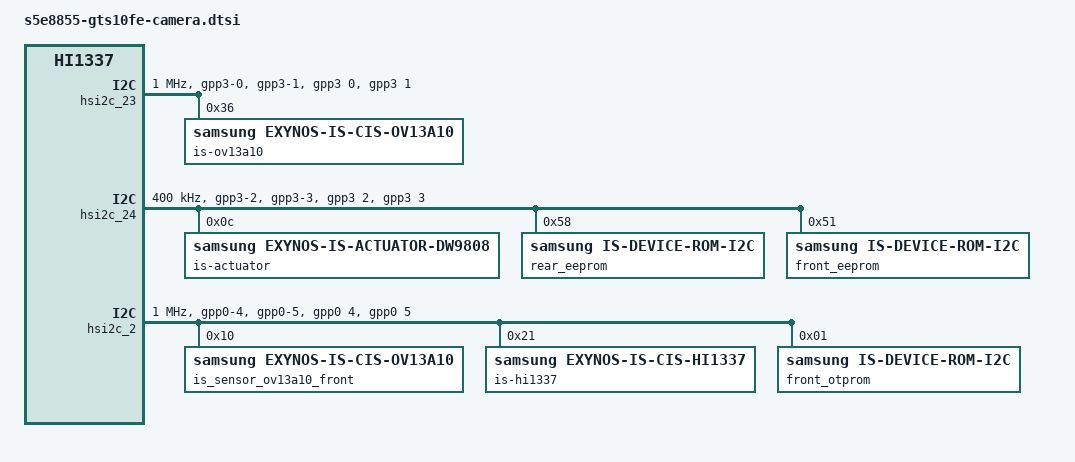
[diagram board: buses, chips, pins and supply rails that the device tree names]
/*
 * Samsung Exynos SoC series Pablo driver
 *
 * Copyright (c) 2024 Samsung Electronics Co., Ltd
 *
 * This program is free software; you can redistribute it and/or modify
 * it under the terms of the GNU General Public License version 2 as
 * published by the Free Software Foundation.
 */

#include <dt-bindings/camera/exynos_is_dt.h>

#include "module_ov13a10.dtsi"	/* Rear CAMERA */
#include "module_ov13a10_front.dtsi"	/* Front CAMERA */
#include "module_hi1337.dtsi"	/* Front CAMERA */

/ {
	fragment@camera {
		target-path = "/";
		__overlay__ {
			#address-cells = <2>;
			#size-cells = <1>;
			interrupt-parent = <&gic>;

			/* Wide CAMERA */
			is_sensor0: is_sensor0@17480000 {
				reg = <0x0 0x174A0000 0x1000>, /* MIPI-CSI2 */
					<0x0 0x174D0000 0x10000>, /* PHY: M0S4S4S4S4_S22 */
					<0x0 0x174E022C 0x10>; /* CSIS_FRO */
				interrupts = <0 INTREQ__CSIS2 IRQ_TYPE_LEVEL_HIGH>; /* MIPI-CSI2 */
				scenario = <SENSOR_SCENARIO_NORMAL>;	/* Normal, Vision, OIS etc */
				id = <0>;	/* VIDEO_SS0 */
				csi_ch = <2>; /* CSI2 */
				status = "okay";
				use_cphy = <0>;

				phys = <&mipi_phy_csis2_m0s4s4s4s4_s22>;
				phy_setfile = <&dcphy_setfile_dphy>;
				phy_tune_default_mode = "4128 3096 30";
			};

			/* FRONT CAMERA */
			is_sensor1: is_sensor1@17490000 {
				reg = <0x0 0x17480000 0x1000>, /* MIPI-CSI0 */
					<0x0 0x174D0000 0x10000>, /* PHY: M0S4S4S4S4_S22 */
					<0x0 0x174E022C 0x10>; /* CSIS_FRO */
				interrupts = <0 INTREQ__CSIS0 IRQ_TYPE_LEVEL_HIGH>; /*MIPI-CSI0 */
				scenario = <SENSOR_SCENARIO_NORMAL>;    /* Normal, Vision, OIS etc */
				id = <1>;
				csi_ch = <0>;
				status = "okay";
				use_cphy = <0>;

				phys = <&mipi_phy_csis0_m0s4s4s4s4_s22>;
				phy_setfile = <&dcphy_setfile_dphy>;
				phy_tune_default_mode = "4000 3000 30";
			};

			is_sensor2: is_sensor2@174A0000 {
				status = "disabled";
			};

			is_sensor3: is_sensor3@174B0000 {
				status = "disabled";
			};

			is_sensor4: is_sensor4@174C0000 {
				status = "disabled";
			};
		}; /* end of __overlay__ */
	}; /* end of fragment */
}; /* end of root */

/***** reference symbol node *****/
/* GPIO_PERI */
&pinctrl_3 {
	/* FRONT i2c1 */
	hsi2c2_bus: hsi2c2-bus {
			samsung,pins = "gpp0-4", "gpp0-5";
			samsung,pin-function = <2>;
			samsung,pin-pud = <5>;
			samsung,pin-drv = <0>;
	};

	hsi2c2_bus_in: hsi2c2-bus-in {
			samsung,pins = "gpp0-4", "gpp0-5";
			samsung,pin-function = <0>;
			samsung,pin-pud = <1>;
			samsung,pin-drv = <0>;
	};
};

&pinctrl_5 {
	/* REAR WIDE */
	hsi2c23_bus: hsi2c23-bus {
		samsung,pins = "gpp3-0", "gpp3-1";
		samsung,pin-function = <2>;
		samsung,pin-pud = <5>;
		samsung,pin-drv = <0>;
	};

	hsi2c23_bus_in: hsi2c23-bus-in {
		samsung,pins = "gpp3-0", "gpp3-1";
		samsung,pin-function = <0>;
		samsung,pin-pud = <1>;
		samsung,pin-drv = <0>;
	};

	/* AF EEPROM */
	hsi2c24_bus: hsi2c24-bus {
		samsung,pins = "gpp3-2", "gpp3-3";
		samsung,pin-function = <3>;
		samsung,pin-pud = <3>;
		samsung,pin-drv = <0>;
	};

	hsi2c24_bus_in: hsi2c24-bus-in {
		samsung,pins = "gpp3-2", "gpp3-3";
		samsung,pin-function = <0>;
		samsung,pin-pud = <1>;
		samsung,pin-drv = <0>;
	};
};

&hsi2c_23 {
	#address-cells = <1>;
	#size-cells = <0>;
	gpios = <&gpp3 0 0 &gpp3 1 0>;
	status = "okay";
	clock-frequency = <1000000>;
	samsung,reset-before-trans;
	samsung,fast-plus-mode;

	pinctrl-names = "default","on_i2c","off_i2c";
	pinctrl-0 = <&hsi2c23_bus_in>;
	pinctrl-1 = <&hsi2c23_bus>;
	pinctrl-2 = <&hsi2c23_bus_in>;

	is-ov13a10@6C {
		compatible = "samsung,exynos-is-cis-ov13a10";
		sensor-module = <&is_sensor_ov13a10>;
		reg = <0x36>; /* 1 bit right shift */
		id = <0>; /* matching is_sensor id */
		setfile = "setA";
		status = "okay";
		rev_reg = <0x0018 1>;
		sensor_f_number = <180>;	/* f number 1.8 */
		vendor_use_adaptive_mipi;
	};
};

&hsi2c_24 {
	#address-cells = <1>;
	#size-cells = <0>;
	gpios = <&gpp3 2 0 &gpp3 3 0>;
	status = "okay";
	clock-frequency = <400000>;
	samsung,reset-before-trans;

	pinctrl-names = "default","on_i2c","off_i2c";
	pinctrl-0 = <&hsi2c24_bus_in>;
	pinctrl-1 = <&hsi2c24_bus>;
	pinctrl-2 = <&hsi2c24_bus_in>;

	is-actuator@18 { /* wide AF */
		compatible = "samsung,exynos-is-actuator-dw9808";
		sensor-module = <&is_sensor_ov13a10>;
		reg = <0x0C>;
		id = <0>; /* matching is_sensor id */
		place = <0>;
		calibration = <0x06A4 0x06A5>; /* control_mode, resonance */
	};

	rear_eeprom@B0 {
		compatible = "samsung,is-device-rom-i2c";
		reg = <0x58>;

		rom_id = <0>; /* ROM_ID_REAR */
		rom_type = <2>; /* ROM_TYPE_EEPROM */
		rom_power_position = <0>;
		rom_size = <0x8000>;
		sensor_name_addr = <0x00A0>;
		cal_map_es_version = <1>;
		camera_module_es_version = "A";
		need_i2c_config;
		/* ignore_cal_crc_error; */
		/* skip_cal_loading; */

		/* 20240912_TabS10FE_FEPlus_CAM1(Wide_13M_OV13A10)_EEPROM_Rear_Cal_map_V008.001_QC_LSI_MTK_Common_Map */
		/* 0 header */
		header_crc_check_list = <0x0000 0x00FB 0x00FC>;
		/* 0 LSI Wide LSC data */
		/* 1 Wide camera */
		/* 2 ATC data */
		/* 3 Tele camera */
		/* 4 Sensor */
		crc_check_list = <
				0x0100 0x013B 0x013C
				0x0190 0x067B 0x067C
				0x0680 0x06CB 0x06CC
				0x06D0 0x0E8B 0x0E8C
				0x0E90 0x0EDB 0x0EDC
				0x0EE0 0x16EB 0x16EC
				0x16F0 0x170B 0x170C
				0x1710 0x1B0B 0x1B0C
			>;

		/* Master */
		rom_header_version_start_addr = <0x6E>;
		rom_header_cal_data_start_addr = <0x00>;
		rom_header_cal_map_ver_start_addr = <0x90>;
		rom_header_isp_setfile_ver_start_addr = <0x71>;
		rom_header_project_name_start_addr = <0x98>;
		rom_header_module_id_addr = <0xB6>; /* 0xB0 + reserved bytes */
		rom_header_sensor_id_addr = <0xC0>;
		rom_awb_master_addr = <0x16F0>;
		/* Near Far Mid1 ... Mid7 */
		rom_af_cal_addr = <0x068C 0x0680>;
		rom_header_mtf_data_addr = <0x1B10>; /* Resolution Data */

		/* standard cal */
		use_standard_cal;
		rom_standard_cal_start_addr = <0x0100>;
		rom_standard_cal_end_addr = <0x1D49>;
		rom_standard_cal_sec2lsi_end_addr = <0x3329>;
		rom_awb_start_addr = <0x16F0>;
		rom_awb_end_addr = <0x16F7>;
		rom_shading_start_addr = <0x1710>;
		rom_shading_end_addr = <0x1B08>;
		rom_awb_sec2lsi_start_addr = <0x16F0>;
		rom_awb_sec2lsi_end_addr = <0x16F7>;
		rom_awb_sec2lsi_checksum_addr = <0x16FC>;
		rom_awb_sec2lsi_checksum_len = <0xC>;
		rom_shading_sec2lsi_start_addr = <0x1700>;
		rom_shading_sec2lsi_end_addr = <0x30E7>;
		rom_shading_sec2lsi_checksum_addr = <0x30EC>;
		rom_shading_sec2lsi_checksum_len = <0x19EC>;
		rom_factory_start_addr = <0x1B10>;
		rom_factory_end_addr = <0x1D49>;
		rom_factory_sec2lsi_start_addr = <0x30F0>;
	};

	front_eeprom@A2 {
		compatible = "samsung,is-device-rom-i2c";
		reg = <0x51>;

		rom_id = <1>; /* ROM_ID_FRONT */
		rom_type = <2>; /* ROM_TYPE_EEPROM */
		rom_power_position = <1>;
		rom_size = <0x8000>;
		sensor_name_addr = <0x00A0>;
		cal_map_es_version = <1>;
		camera_module_es_version = "A";
		need_i2c_config;
		/* ignore_cal_crc_error; */
		/* skip_cal_loading; */
		check_dualize; 
		dualized_sensorinfo = "224 HI1337 3";
		sensor_headerver = "S12EO";

		/* 20240910_TabS10FE_FEPlus_CAM1(Front_12M_OV13A10)_EEPROM_Front_Cal_map V008.001_QC_LSI_MTK_Common_Map */
		/* 0 header */
		header_crc_check_list = <0x0000 0x0051 0x0052>;
		/* 0 LSI Wide LSC data */
		/* 1 Wide camera */
		/* 2 ATC data */
		/* 3 Tele camera */
		/* 4 Sensor */
		crc_check_list = <
				0x0056 0x0477 0x0478
			>;

		/* Master */
		rom_header_cal_data_start_addr = <0x00>;
		rom_header_version_start_addr = <0x0A>;
		rom_header_cal_map_ver_start_addr = <0x16>;
		rom_header_project_name_start_addr = <0x1E>;
		rom_header_module_id_addr = <0x36>; /* 0x30 + reserved bytes */
		rom_header_sensor_id_addr = <0x40>;
		rom_header_mtf_data_addr = <0x47C>; /* Resolution Data */
		rom_awb_master_addr = <0x64>;

		/* standard cal */
		use_standard_cal;
		rom_standard_cal_start_addr = <0x64>;
		rom_standard_cal_end_addr = <0x069B>;
		rom_standard_cal_sec2lsi_end_addr = <0x1C83>;
		rom_awb_start_addr = <0x64>;
		rom_awb_end_addr = <0x6B>;
		rom_shading_start_addr = <0x6E>;
		rom_shading_end_addr = <0x0466>;
		rom_factory_start_addr = <0x047C>;
		rom_factory_end_addr = <0x069B>;
		rom_awb_sec2lsi_start_addr = <0x64>;
		rom_awb_sec2lsi_end_addr = <0x6B>;
		rom_awb_sec2lsi_checksum_addr = <0x70>;
		rom_awb_sec2lsi_checksum_len = <0xC>;
		rom_shading_sec2lsi_start_addr = <0x74>;
		rom_shading_sec2lsi_end_addr = <0x1A5B>;
		rom_shading_sec2lsi_checksum_addr = <0x1A60>;
		rom_shading_sec2lsi_checksum_len = <0x19EC>;
		rom_factory_sec2lsi_start_addr = <0x1A64>;
	};
};

&hsi2c_2 {
	#address-cells = <1>;
	#size-cells = <0>;
	gpios = <&gpp0 4 0 &gpp0 5 0>;
	status = "okay";
	clock-frequency = <1000000>;
	samsung,reset-before-trans;
	samsung,fast-plus-mode;

	pinctrl-names = "default","on_i2c","off_i2c";
	pinctrl-0 = <&hsi2c2_bus_in>;
	pinctrl-1 = <&hsi2c2_bus>;
	pinctrl-2 = <&hsi2c2_bus_in>;

	is_sensor_ov13a10_front@20 {
		compatible = "samsung,exynos-is-cis-ov13a10";
		sensor-module = <&is_sensor_ov13a10_front>;
		reg = <0x10>; /* 1 bit right shift */
		id = <1>; /* matching is_sensor id */
		setfile = "setA_front";
		status = "okay";
		rev_reg = <0x0018 1>;
		sensor_f_number = <180>;	/* f number 1.8 */
		vendor_use_adaptive_mipi;
	};

	is-hi1337@42 {
		compatible = "samsung,exynos-is-cis-hi1337";
		sensor-module = <&is_sensor_hi1337>;
		reg = <0x21>; /* 1 bit right shift */
		id = <1>; /* matching is_sensor id */
		setfile = "setA";
		status = "okay";
		vendor_use_adaptive_mipi;
	};

	front_otprom@42 {
		compatible = "samsung,is-device-rom-i2c";
		reg = <0x01>;

		rom_id = <1>; /* ROM_ID_FRONT */
		rom_power_position = <1>;
		rom_type = <3>; /* ROM_TYPE_OTPROM */
		rom_size = <0x2000>;
		cal_map_es_version = <1>;
		sensor_name_addr = <0x0026>;
		camera_module_es_version = "A";
		need_i2c_config;
		is_dualized_cal;
		sensor_headerver = "T12EF";
		/* skip_cal_loading; */

		/* 20240910_TabS10FE_FEPlus_CAM1(Front_12M_HI1337)_OTP_Front_Cal_map_V008.001_QC_LSI_MTK_Common_Map */
		/* 0 header */
		header_crc_check_list	= <0x00 0x51 0x52>;
		/* 0 module */
		crc_check_list	= <0x56 0x477 0x0478>;
		/* Master */
		rom_header_version_start_addr	= <0x000A>;
		rom_header_cal_data_start_addr	= <0x0056>;
		rom_header_cal_map_ver_start_addr	= <0x0016>;
		rom_header_project_name_start_addr	= <0x1E>;
		rom_header_module_id_addr	= <0x0036>; /* 0x30 + reserved bytes */
		rom_header_sensor_id_addr	= <0x0040>;
		rom_header_mtf_data_addr = <0x47C>; /* Resolution Data */
		rom_awb_master_addr	= <0x0064>;

		/* standard cal */
		use_standard_cal;
		rom_standard_cal_start_addr	= <0x0000>;
		rom_standard_cal_end_addr	= <0x062C>;
		rom_standard_cal_sec2lsi_end_addr	= <0x1C73>;
		rom_awb_start_addr	= <0x0064>;
		rom_awb_end_addr	= <0x006B>;
		rom_shading_start_addr	= <0x006E>;
		rom_shading_end_addr	= <0x0466>;
		rom_awb_sec2lsi_start_addr	= <0x0064>;
		rom_awb_sec2lsi_end_addr	= <0x006B>;
		rom_awb_sec2lsi_checksum_addr	= <0x0070>;
		rom_awb_sec2lsi_checksum_len	= <0x000C>;
		rom_shading_sec2lsi_start_addr	= <0x0074>;
		rom_shading_sec2lsi_end_addr	= <0x1A5B>;
		rom_shading_sec2lsi_checksum_addr	= <0x1A60>;
		rom_shading_sec2lsi_checksum_len	= <0x19EC>;
	};
};

&exynos_is {
	pinctrl-names = "default";

	vendor {
		use_module_check;
		//use_ois;
		check_sensor_vendor;
		//skip_cal_loading;

		is_vendor_sensor_count = <2>;

		/*
		* Wide(0)
		* Front(1)
		* U Wide(2)
		* Front 80(3) - not available for factory
		* Rear ToF(4) - not available for factory
		* Front Secure(5) - not available for factory
		* Dual Zoom(20)
		* Dual Portrait Tele(21) - Main Tele/Sub Wide
		* Dual Portrait Wide(23) - Main Wide/Sub U Wide
		* Tele 2x2(50)
		* Tele 17.9(52)
		* Front_3(53)
		* Tele_2(54)
		* Front_4(55)
		* Rear_Wide(56)
		* Rear_UW(58)
		* REAR ToF(80)
		* Rear Macro (60)
		*/

		max_supported_camera = <2>;
		supported_cameraId = <56 2>;

		/*
		* list for allowed ux camera name

		* front_wide
		* front_ultra_wide
		* rear_wide
		* rear_ultra_wide
		* rear_tele
		* rear_super_tele
		* rear_macro
		* rear_depth
		* inner

		* camera list format : service id,ux camera name,hw big data node
		*/
		supported_cameraIds_ext = "56,rear_wide,rear,1,front_wide,front";

		/* sysfs camera id */
		max_camera_num = <2>;
		sensor_name { /* position = "name" */
			0 = "OV13A10";
			1 = "OV13A10_FRONT";
		};

		sensor_id { /* position = <sensor_id> */
			0 = <228>;	/* OV13A10 */
			1 = <229 224>;	/* OV13A10_FRONT */
		};

		camera_info0 {			/* 0 : sysfs rear */
			position = <0>;	/* 0 : wide */
			valid = <1>;		/* 0 : INVALID, 1 : VALID */
			type = <0>;			/* 0 : CAM_INFO_TYPE_RW1 */
		};
		camera_info1 {			/* 1 : sysfs front */
			position = <1>;	/* 1 : front master */
			valid = <1>;		/* 0 : INVALID, 1 : VALID */
			type = <3>;			/* 3 : CAM_INFO_TYPE_FW1 */
		};

		sysfs {
			rear_afcal;

			front_fixed_focus;
		};
	};

	is_dvfs {
		table0 {
			desc = "dvfs table v0.0";

			default_int_cam = <0>;
			default_cam = <0>;
			default_csis = <0>;
			default_isp = <0>;
			default_mif = <0>;
			default_icpu = <0>;

			rear_single_photo_csis = <3>;
			rear_single_photo_cam = <6>;
			rear_single_photo_isp = <6>;
			rear_single_photo_int_cam = <6>;
			rear_single_photo_mif = <7>;
			rear_single_photo_icpu = <1>;

			rear_dual_wide_ultrawide_photo_csis = <1>;
			rear_dual_wide_ultrawide_photo_cam = <0>;
			rear_dual_wide_ultrawide_photo_isp = <6>;
			rear_dual_wide_ultrawide_photo_int_cam = <5>;
			rear_dual_wide_ultrawide_photo_mif = <4>;
			rear_dual_wide_ultrawide_photo_icpu = <1>;

			rear_dual_wide_ultrawide_capture_csis = <1>;
			rear_dual_wide_ultrawide_capture_cam = <0>;
			rear_dual_wide_ultrawide_capture_isp = <6>;
			rear_dual_wide_ultrawide_capture_int_cam = <5>;
			rear_dual_wide_ultrawide_capture_mif = <0>;
			rear_dual_wide_ultrawide_capture_icpu = <1>;

			rear_single_photo_full_csis = <1>;
			rear_single_photo_full_cam = <4>;
			rear_single_photo_full_isp = <6>;
			rear_single_photo_full_int_cam = <5>;
			rear_single_photo_full_mif = <3>;
			rear_single_photo_full_icpu = <1>;

			rear_single_video_fhd30_cam = <5>;
			rear_single_video_fhd30_isp = <7>;
			rear_single_video_fhd30_int_cam = <5>;
			rear_single_video_fhd30_mif = <7>;
			rear_single_video_fhd30_icpu = <1>;

			rear_single_video_fhd30_supersteady_csis = <4>;
			rear_single_video_fhd30_supersteady_cam = <6>;
			rear_single_video_fhd30_supersteady_isp = <4>;
			rear_single_video_fhd30_supersteady_int_cam = <4>;
			rear_single_video_fhd30_supersteady_mif = <6>;
			rear_single_video_fhd30_supersteady_icpu = <1>;

			rear_single_video_fhd30_recursive_cam = <6>;
			rear_single_video_fhd30_recursive_isp = <8>;
			rear_single_video_fhd30_recursive_int_cam = <4>;
			rear_single_video_fhd30_recursive_mif = <7>;
			rear_single_video_fhd30_recursive_icpu = <3>;

			rear_single_video_fhd60_csis = <3>;
			rear_single_video_fhd60_cam = <3>;
			rear_single_video_fhd60_isp = <6>;
			rear_single_video_fhd60_int_cam = <5>;
			rear_single_video_fhd60_mif = <3>;
			rear_single_video_fhd60_icpu = <1>;

			rear_single_video_fhd60_supersteady_cam = <6>;
			rear_single_video_fhd60_supersteady_isp = <8>;
			rear_single_video_fhd60_supersteady_int_cam = <4>;
			rear_single_video_fhd60_supersteady_mif = <7>;
			rear_single_video_fhd60_supersteady_icpu = <3>;

			rear_single_video_uhd30_cam = <6>;
			rear_single_video_uhd30_isp = <6>;
			rear_single_video_uhd30_int_cam = <3>;
			rear_single_video_uhd30_mif = <4>;
			rear_single_video_uhd30_icpu = <1>;

			rear_single_video_hd30_cam = <5>;
			rear_single_video_hd30_isp = <6>;
			rear_single_video_hd30_int_cam = <7>;
			rear_single_video_hd30_mif = <7>;
			rear_single_video_hd30_icpu = <1>;

			rear_single_video_hd240_int_cam = <5>;
			rear_single_video_hd240_mif = <4>;
			rear_single_video_hd240_icpu = <1>;

			rear_single_video_uhd30_supersteady_cam = <6>;
			rear_single_video_uhd30_supersteady_isp = <9>;
			rear_single_video_uhd30_supersteady_int_cam = <4>;
			rear_single_video_uhd30_supersteady_mif = <7>;
			rear_single_video_uhd30_supersteady_icpu = <0>;

			rear_single_video_uhd30_recursive_cam = <6>;
			rear_single_video_uhd30_recursive_isp = <8>;
			rear_single_video_uhd30_recursive_int_cam = <4>;
			rear_single_video_uhd30_recursive_mif = <5>;
			rear_single_video_uhd30_recursive_icpu = <3>;

			rear_single_video_uhd60_cam = <6>;
			rear_single_video_uhd60_isp = <8>;
			rear_single_video_uhd60_int_cam = <4>;
			rear_single_video_uhd60_mif = <5>;
			rear_single_video_uhd60_icpu = <3>;

			rear_single_video_uhd60_supersteady_cam = <6>;
			rear_single_video_uhd60_supersteady_isp = <8>;
			rear_single_video_uhd60_supersteady_int_cam = <4>;
			rear_single_video_uhd60_supersteady_mif = <5>;
			rear_single_video_uhd60_supersteady_icpu = <2>;

			rear_single_capture_cam = <0>;
			rear_single_capture_isp = <0>;
			rear_single_capture_int_cam = <5>;
			rear_single_capture_mif = <0>;
			rear_single_capture_icpu = <1>;

			rear_single_video_fhd120_cam = <6>;
			rear_single_video_fhd120_isp = <8>;
			rear_single_video_fhd120_int_cam = <4>;
			rear_single_video_fhd120_mif = <7>;
			rear_single_video_fhd120_icpu = <3>;

			rear_single_video_uhd120_cam = <5>;
			rear_single_video_uhd120_isp = <6>;
			rear_single_video_uhd120_int_cam = <4>;
			rear_single_video_uhd120_mif = <5>;
			rear_single_video_uhd120_icpu = <3>;

			rear_single_video_fhd240_cam = <6>;
			rear_single_video_fhd240_isp = <6>;
			rear_single_video_fhd240_int_cam = <4>;
			rear_single_video_fhd240_mif = <5>;
			rear_single_video_fhd240_icpu = <3>;

			rear_single_video_fhd480_cam = <1>;
			rear_single_video_fhd480_isp = <1>;
			rear_single_video_fhd480_int_cam = <1>;
			rear_single_video_fhd480_mif = <1>;
			rear_single_video_fhd480_icpu = <0>;

			rear_single_ssm_cam = <6>;
			rear_single_ssm_isp = <6>;
			rear_single_ssm_int_cam = <4>;
			rear_single_ssm_mif = <5>;
			rear_single_ssm_icpu = <3>;

			rear_single_remosaic_photo_cam = <6>;
			rear_single_remosaic_photo_isp = <9>;
			rear_single_remosaic_photo_int_cam = <4>;
			rear_single_remosaic_photo_mif = <5>;
			rear_single_remosaic_photo_icpu = <3>;

			rear_single_remosaic_capture_cam = <4>;
			rear_single_remosaic_capture_isp = <6>;
			rear_single_remosaic_capture_int_cam = <0>;
			rear_single_remosaic_capture_mif = <5>;
			rear_single_remosaic_capture_icpu = <1>;

			rear_single_vt_csis = <4>;
			rear_single_vt_cam = <6>;
			rear_single_vt_isp = <6>;
			rear_single_vt_int_cam = <5>;
			rear_single_vt_mif = <7>;
			rear_single_vt_icpu = <1>;

			rear_single_video_8k24_cam = <6>;
			rear_single_video_8k24_isp = <6>;
			rear_single_video_8k24_int_cam = <4>;
			rear_single_video_8k24_mif = <5>;
			rear_single_video_8k24_icpu = <3>;

			rear_single_video_8k24_hf_cam = <6>;
			rear_single_video_8k24_hf_isp = <6>;
			rear_single_video_8k24_hf_int_cam = <4>;
			rear_single_video_8k24_hf_mif = <5>;
			rear_single_video_8k24_hf_icpu = <3>;

			rear_single_video_8k30_cam = <6>;
			rear_single_video_8k30_isp = <6>;
			rear_single_video_8k30_int_cam = <4>;
			rear_single_video_8k30_mif = <5>;
			rear_single_video_8k30_icpu = <3>;

			rear_single_video_8k30_hf_cam = <6>;
			rear_single_video_8k30_hf_isp = <6>;
			rear_single_video_8k30_hf_int_cam = <4>;
			rear_single_video_8k30_hf_mif = <5>;
			rear_single_video_8k30_hf_icpu = <3>;

			rear_single_fastae_cam = <0>;
			rear_single_fastae_isp = <0>;
			rear_single_fastae_int_cam = <0>;
			rear_single_fastae_mif = <0>;
			rear_single_fastae_icpu = <0>;

			rear_dual_photo_cam = <4>;
			rear_dual_photo_isp = <9>;
			rear_dual_photo_int_cam = <4>;
			rear_dual_photo_mif = <9>;
			rear_dual_photo_icpu = <3>;

			rear_dual_video_fhd30_cam = <4>;
			rear_dual_video_fhd30_isp = <9>;
			rear_dual_video_fhd30_int_cam = <4>;
			rear_dual_video_fhd30_mif = <9>;
			rear_dual_video_fhd30_icpu = <3>;

			rear_dual_video_fhd60_cam = <4>;
			rear_dual_video_fhd60_isp = <9>;
			rear_dual_video_fhd60_int_cam = <4>;
			rear_dual_video_fhd60_mif = <6>;
			rear_dual_video_fhd60_icpu = <3>;

			rear_dual_video_uhd30_cam = <4>;
			rear_dual_video_uhd30_isp = <9>;
			rear_dual_video_uhd30_int_cam = <4>;
			rear_dual_video_uhd30_mif = <6>;
			rear_dual_video_uhd30_icpu = <3>;

			rear_dual_video_uhd60_cam = <4>;
			rear_dual_video_uhd60_isp = <8>;
			rear_dual_video_uhd60_int_cam = <4>;
			rear_dual_video_uhd60_mif = <5>;
			rear_dual_video_uhd60_icpu = <3>;

			rear_dual_capture_cam = <2>;
			rear_dual_capture_isp = <8>;
			rear_dual_capture_int_cam = <0>;
			rear_dual_capture_mif = <5>;
			rear_dual_capture_icpu = <1>;

			triple_photo_cam = <2>;
			triple_photo_isp = <9>;
			triple_photo_int_cam = <4>;
			triple_photo_mif = <9>;
			triple_photo_icpu = <2>;

			triple_video_fhd30_cam = <2>;
			triple_video_fhd30_isp = <9>;
			triple_video_fhd30_int_cam = <4>;
			triple_video_fhd30_mif = <9>;
			triple_video_fhd30_icpu = <2>;

			triple_video_fhd60_cam = <2>;
			triple_video_fhd60_isp = <9>;
			triple_video_fhd60_int_cam = <4>;
			triple_video_fhd60_mif = <6>;
			triple_video_fhd60_icpu = <2>;

			triple_video_uhd30_cam = <2>;
			triple_video_uhd30_isp = <9>;
			triple_video_uhd30_int_cam = <4>;
			triple_video_uhd30_mif = <6>;
			triple_video_uhd30_icpu = <2>;

			triple_video_uhd60_cam = <2>;
			triple_video_uhd60_isp = <9>;
			triple_video_uhd60_int_cam = <4>;
			triple_video_uhd60_mif = <5>;
			triple_video_uhd60_icpu = <2>;

			triple_capture_cam = <1>;
			triple_capture_isp = <8>;
			triple_capture_int_cam = <0>;
			triple_capture_mif = <5>;
			triple_capture_icpu = <1>;

			front_single_photo_csis = <5>;
			front_single_photo_cam = <5>;
			front_single_photo_isp = <7>;
			front_single_photo_int_cam = <5>;
			front_single_photo_mif = <7>;
			front_single_photo_icpu = <1>;
		
			front_single_photo_full_csis = <1>;
			front_single_photo_full_cam = <6>;
			front_single_photo_full_isp = <6>;
			front_single_photo_full_int_cam = <5>;
			front_single_photo_full_mif = <3>;
			front_single_photo_full_icpu = <1>;

			front_single_video_fhd30_csis = <5>;
			front_single_video_fhd30_cam = <5>;
			front_single_video_fhd30_isp = <7>;
			front_single_video_fhd30_int_cam = <5>;
			front_single_video_fhd30_mif = <7>;
			front_single_video_fhd30_icpu = <1>;

			front_single_video_fhd30_recursive_cam = <1>;
			front_single_video_fhd30_recursive_isp = <1>;
			front_single_video_fhd30_recursive_int_cam = <1>;
			front_single_video_fhd30_recursive_mif = <1>;
			front_single_video_fhd30_recursive_icpu = <0>;

			front_single_video_uhd30_csis = <6>;
			front_single_video_uhd30_cam = <6>;
			front_single_video_uhd30_isp = <6>;
			front_single_video_uhd30_int_cam = <5>;
			front_single_video_uhd30_mif = <4>;
			front_single_video_uhd30_icpu = <1>;

			front_single_video_uhd30_recursive_cam = <1>;
			front_single_video_uhd30_recursive_isp = <1>;
			front_single_video_uhd30_recursive_int_cam = <1>;
			front_single_video_uhd30_recursive_mif = <8>;
			front_single_video_uhd30_recursive_icpu = <0>;

			front_single_video_fhd60_csis = <6>;
			front_single_video_fhd60_cam = <6>;
			front_single_video_fhd60_isp = <6>;
			front_single_video_fhd60_int_cam = <5>;
			front_single_video_fhd60_mif = <4>;
			front_single_video_fhd60_icpu = <1>;

			front_single_video_hd30_csis = <6>;
			front_single_video_hd30_isp = <6>;
			front_single_video_hd30_int_cam = <7>;
			front_single_video_hd30_mif = <7>;
			front_single_video_hd30_icpu = <1>;

			front_single_video_hd120_csis = <6>;
			front_single_video_hd120_mif = <4>;

			front_single_video_uhd60_cam = <7>;
			front_single_video_uhd60_isp = <8>;
			front_single_video_uhd60_int_cam = <4>;
			front_single_video_uhd60_mif = <5>;
			front_single_video_uhd60_icpu = <3>;

			front_single_capture_cam = <0>;
			front_single_capture_isp = <0>;
			front_single_capture_int_cam = <0>;
			front_single_capture_mif = <0>;
			front_single_capture_icpu = <1>;

			front_single_vt_csis = <5>;
			front_single_vt_cam = <6>;
			front_single_vt_isp = <6>;
			front_single_vt_int_cam = <5>;
			front_single_vt_mif = <6>;
			front_single_vt_icpu = <1>;

			front_single_fastae_cam = <7>;
			front_single_fastae_isp = <9>;
			front_single_fastae_int_cam = <4>;
			front_single_fastae_mif = <9>;
			front_single_fastae_icpu = <3>;

			front_single_video_uhd120_cam = <7>;
			front_single_video_uhd120_isp = <6>;
			front_single_video_uhd120_int_cam = <4>;
			front_single_video_uhd120_mif = <5>;
			front_single_video_uhd120_icpu = <3>;

			front_single_video_fhd120_cam = <7>;
			front_single_video_fhd120_isp = <6>;
			front_single_video_fhd120_int_cam = <4>;
			front_single_video_fhd120_mif = <7>;
			front_single_video_fhd120_icpu = <3>;

			pip_dual_photo_cam = <4>;
			pip_dual_photo_isp = <9>;
			pip_dual_photo_int_cam = <4>;
			pip_dual_photo_mif = <7>;
			pip_dual_photo_icpu = <3>;

			pip_dual_capture_cam = <2>;
			pip_dual_capture_isp = <8>;
			pip_dual_capture_int_cam = <0>;
			pip_dual_capture_mif = <5>;
			pip_dual_capture_icpu = <1>;

			pip_dual_video_fhd30_csis = <1>;
			pip_dual_video_fhd30_cam = <4>;
			pip_dual_video_fhd30_isp = <5>;
			pip_dual_video_fhd30_int_cam = <4>;
			pip_dual_video_fhd30_mif = <5>;
			pip_dual_video_fhd30_icpu = <1>;

			pip_dual_video_uhd30_cam = <1>;
			pip_dual_video_uhd30_isp = <1>;
			pip_dual_video_uhd30_int_cam = <1>;
			pip_dual_video_uhd30_mif = <1>;
			pip_dual_video_uhd30_icpu = <0>;

			sensor_only_rear_single_cam = <1>;
			sensor_only_rear_single_isp = <1>;
			sensor_only_rear_single_int_cam = <1>;
			sensor_only_rear_single_mif = <1>;
			sensor_only_rear_single_icpu = <0>;

			sensor_only_front_cam = <1>;
			sensor_only_front_isp = <1>;
			sensor_only_front_int_cam = <1>;
			sensor_only_front_mif = <1>;
			sensor_only_front_icpu = <0>;

			throttling_cam = <0>;
			throttling_isp = <0>;
			throttling_int_cam = <5>; /* 234 */
			throttling_mif = <7>; /* 1539 */
			throttling_icpu = <0>;

			max_csis = <0>;
			max_cam = <0>;
			max_isp = <0>;
			max_int_cam = <0>;
			max_mif = <0>;
			max_icpu = <0>;
		};
	};
};
